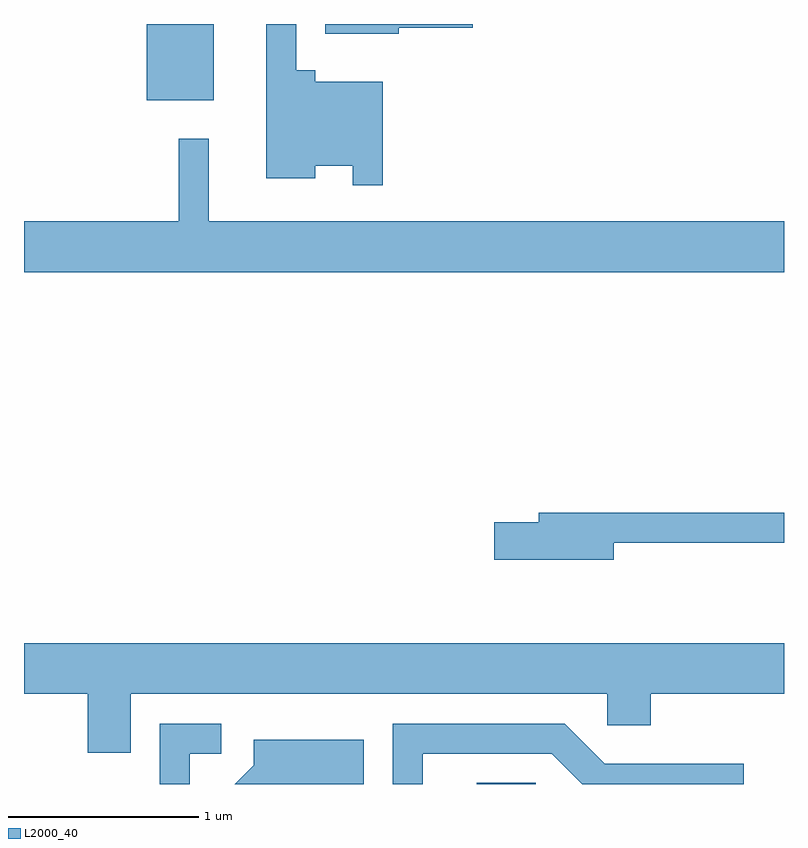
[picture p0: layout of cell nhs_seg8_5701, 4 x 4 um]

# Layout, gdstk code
import gdstk
lib = gdstk.Library(unit=1e-6, precision=1e-09)
def R(c, l, rs):  # rectangles x0, y0, x1, y1
    for r in rs: c.add(gdstk.rectangle(r[:2], r[2:], *l))
def P(c, l, *ps):  # polygons
    for p in ps: c.add(gdstk.Polygon(p, *l))
L2000_40 = (2000, 40)

nhs_seg8_5701 = lib.new_cell('nhs_seg8_5701')
R(nhs_seg8_5701, L2000_40, [(357.993,1880.342,358.304,1880.349), (356.256,1883.941,356.609,1884.342)])
P(nhs_seg8_5701, L2000_40, [(357.499,1884.039),(357.144,1884.039),(357.144,1884.099),(357.044,1884.099),(357.044,1884.342),(356.886,1884.342),(356.886,1883.531),(357.144,1883.531),(357.144,1883.596),(357.341,1883.596),(357.341,1883.493),(357.499,1883.493)],
  [(357.584,1884.321),(357.974,1884.321),(357.974,1884.342),(357.196,1884.342),(357.196,1884.291),(357.584,1884.291)],
  [(359.611,1883.304),(356.584,1883.304),(356.584,1883.738),(356.426,1883.738),(356.426,1883.304),(355.611,1883.304),(355.611,1883.036),(359.611,1883.036)],
  [(358.714,1881.611),(359.611,1881.611),(359.611,1881.769),(358.321,1881.769),(358.321,1881.719),(358.086,1881.719),(358.086,1881.521),(358.714,1881.521)],
  [(356.174,1880.816),(358.681,1880.816),(358.681,1880.651),(358.909,1880.651),(358.909,1880.816),(359.611,1880.816),(359.611,1881.084),(355.611,1881.084),(355.611,1880.816),(355.946,1880.816),(355.946,1880.506),(356.174,1880.506)],
  [(357.709,1880.501),(358.389,1880.501),(358.548,1880.342),(359.399,1880.342),(359.399,1880.449),(358.667,1880.449),(358.457,1880.659),(357.551,1880.659),(357.551,1880.342),(357.709,1880.342)],
  [(356.484,1880.501),(356.648,1880.501),(356.648,1880.659),(356.326,1880.659),(356.326,1880.342),(356.484,1880.342)],
  [(357.399,1880.574),(356.821,1880.574),(356.821,1880.442),(356.721,1880.342),(357.399,1880.342)])

lib.write_gds('nhs_seg8_5701.gds')
